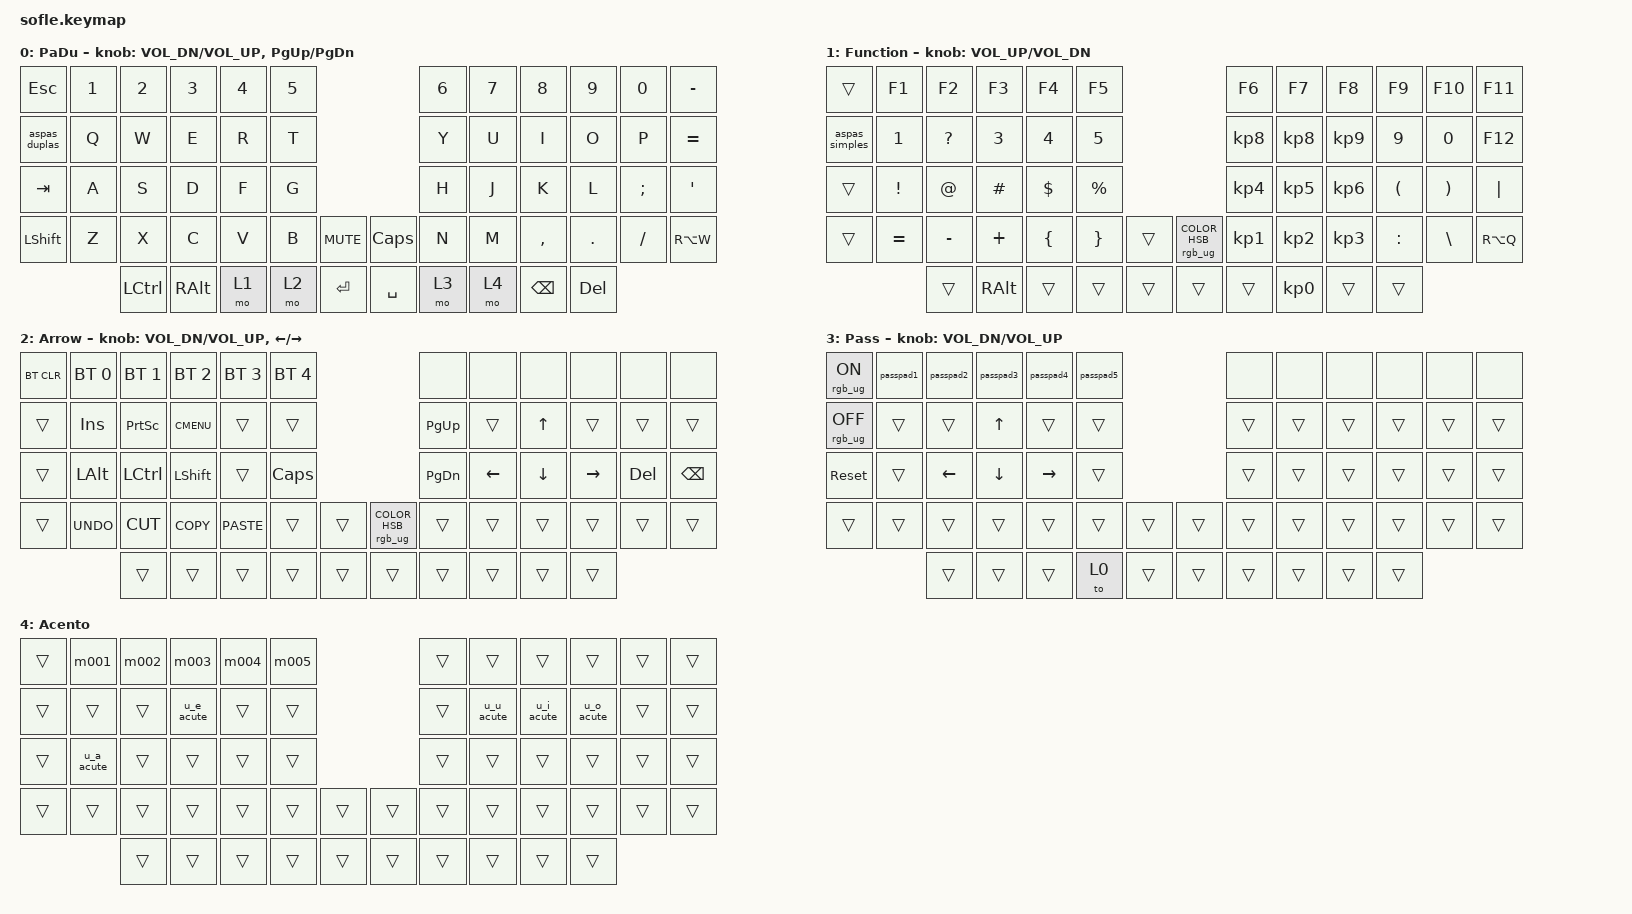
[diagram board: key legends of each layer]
#include <behaviors.dtsi>
#include <dt-bindings/zmk/bt.h>
#include <dt-bindings/zmk/keys.h>
#include <dt-bindings/zmk/rgb.h>

/ {
    macros {
        u_a_acute: u_a_acute {
            compatible = "zmk,behavior-macro";
            #binding-cells = <0>;
            bindings =
                <&macro_press>,
                <&kp LEFT_ALT>,
                <&macro_tap>,
                <&kp KP_N0 &kp KP_N2 &kp KP_N2 &kp KP_N5>,
                <&macro_release>,
                <&kp LEFT_ALT>;

            label = "U_A_ACUTE";
        };

        u_e_acute: u_e_acute {
            compatible = "zmk,behavior-macro";
            #binding-cells = <0>;
            bindings =
                <&macro_press>,
                <&kp LEFT_ALT>,
                <&macro_tap>,
                <&kp KP_N0 &kp KP_N2 &kp KP_N3 &kp KP_N3>,
                <&macro_release>,
                <&kp LEFT_ALT>;

            label = "U_E_ACUTE";
        };

        u_i_acute: u_i_acute {
            compatible = "zmk,behavior-macro";
            #binding-cells = <0>;
            bindings =
                <&macro_press>,
                <&kp LEFT_ALT>,
                <&macro_tap>,
                <&kp KP_N0 &kp KP_N2 &kp KP_N3 &kp KP_N7>,
                <&macro_release>,
                <&kp LEFT_ALT>;

            label = "U_I_ACUTE";
        };

        u_o_acute: u_o_acute {
            compatible = "zmk,behavior-macro";
            #binding-cells = <0>;
            bindings =
                <&macro_press>,
                <&kp LEFT_ALT>,
                <&macro_tap>,
                <&kp KP_N0 &kp KP_N2 &kp KP_N4 &kp KP_N3>,
                <&macro_release>,
                <&kp LEFT_ALT>;

            label = "U_O_ACUTE";
        };

        u_u_acute: u_u_acute {
            compatible = "zmk,behavior-macro";
            #binding-cells = <0>;
            bindings =
                <&macro_press>,
                <&kp LEFT_ALT>,
                <&macro_tap>,
                <&kp KP_N0 &kp KP_N2 &kp KP_N5 &kp KP_N0>,
                <&macro_release>,
                <&kp LEFT_ALT>;

            label = "U_U_ACUTE";
        };

        m001: m001 {
            compatible = "zmk,behavior-macro";
            #binding-cells = <0>;
            bindings = <&kp LS(P) &kp A>;
            label = "M001";
        };

        m002: m002 {
            compatible = "zmk,behavior-macro";
            #binding-cells = <0>;
            bindings = <&kp N1 &kp N7 &kp N0 &kp N8>;
            label = "M002";
        };

        m003: m003 {
            compatible = "zmk,behavior-macro";
            #binding-cells = <0>;
            bindings = <&kp N2 &kp N4>;
            label = "M003";
        };

        m004: m004 {
            compatible = "zmk,behavior-macro";
            #binding-cells = <0>;
            bindings = <&kp N2 &kp N0 &kp N2 &kp N4>;
            label = "M004";
        };

        m005: m005 {
            compatible = "zmk,behavior-macro";
            #binding-cells = <0>;
            bindings = <&kp D &kp U &kp AT>;
            label = "M005";
        };

        aspas_duplas: aspas_duplas {
            compatible = "zmk,behavior-macro";
            #binding-cells = <0>;
            bindings =
                <&macro_press>,
                <&kp LEFT_ALT>,
                <&macro_tap>,
                <&kp KP_N0 &kp KP_N0 &kp KP_N3 &kp KP_N4>,
                <&macro_release>,
                <&kp LEFT_ALT>,
                <&macro_press>,
                <&kp LEFT_ALT>,
                <&macro_tap>,
                <&kp KP_N0 &kp KP_N0 &kp KP_N3 &kp KP_N4>,
                <&macro_release>,
                <&kp LEFT_ALT>,
                <&macro_tap>,
                <&kp LEFT_ARROW>;

            label = "ASPAS_DUPLAS";
        };

        passpad1: passpad1 {
            compatible = "zmk,behavior-macro";
            #binding-cells = <0>;
            bindings = <&kp LS(P) &kp A &kp D &kp U>;
            label = "PASSPAD1";
        };

        passpad5: passpad5 {
            compatible = "zmk,behavior-macro";
            #binding-cells = <0>;
            bindings = <&kp AT_SIGN>;
            label = "PASSPAD5";
        };

        passpad2: passpad2 {
            compatible = "zmk,behavior-macro";
            #binding-cells = <0>;
            bindings = <&kp KP_N0 &kp N4 &kp N1 &kp N4>;
            label = "PASSPAD2";
        };

        passpad4: passpad4 {
            compatible = "zmk,behavior-macro";
            #binding-cells = <0>;
            bindings = <&kp N2 &kp N7 &kp N3 &kp N0>;
            label = "PASSPAD4";
        };

        passpad3: passpad3 {
            compatible = "zmk,behavior-macro";
            #binding-cells = <0>;
            bindings = <&kp N1 &kp N5 &kp N9 &kp N9>;
            label = "PASSPAD3";
        };

        aspas_simples: aspas_simples {
            compatible = "zmk,behavior-macro";
            #binding-cells = <0>;
            bindings =
                <&macro_press>,
                <&kp LEFT_ALT>,
                <&macro_tap>,
                <&kp KP_N0 &kp KP_N0 &kp KP_N3 &kp KP_N9>,
                <&macro_release>,
                <&kp LEFT_ALT>,
                <&macro_press>,
                <&kp LEFT_ALT>,
                <&macro_tap>,
                <&kp KP_N0 &kp KP_N0 &kp KP_N3 &kp KP_N9>,
                <&macro_release>,
                <&kp LEFT_ALT>,
                <&macro_tap>,
                <&kp LEFT_ARROW>;

            label = "ASPAS_SIMPLES";
        };

        ip_001: ip_001 {
            compatible = "zmk,behavior-macro";
            #binding-cells = <0>;
            bindings = <&kp N1 &kp N9 &kp N2 &kp DOT &kp N1 &kp N6 &kp N8 &kp DOT &kp N0 &kp DOT>;
            label = "IP_001";
        };

        dino: dino {
            compatible = "zmk,behavior-macro";
            #binding-cells = <0>;
            bindings = <&none &kp LS(F) &kp L &kp A &kp V &kp I &kp O &kp SPACE &kp D &kp I &kp N &kp O &kp SPACE &kp SPACE &kp M &kp U &kp I &kp T &kp O &kp SPACE &kp B &kp U &kp R &kp R &kp O>;
            label = "DINO";
        };
    };

    combos {
        compatible = "zmk,combos";

        ip_001-combo {
            bindings = <&ip_001>;
            key-positions = <20 22 1>;
            timeout-ms = <100>;
            layers = <0>;
        };

        dinoburro {
            bindings = <&dino>;
            key-positions = <27 20 44 21>;
            timeout-ms = <100>;
            layers = <0>;
        };

        windus {
            bindings = <&kp LEFT_WIN>;
            key-positions = <51 50>;
            layers = <0>;
            timeout-ms = <100>;
        };
    };

    keymap {
        compatible = "zmk,keymap";

        layer0 {
            display-name = "PaDu";
            bindings = <
&kp ESCAPE     &kp N1  &kp N2            &kp N3         &kp N4  &kp N5                              &kp N6  &kp N7  &kp N8         &kp N9   &kp N0    &kp MINUS
&aspas_duplas  &kp Q   &kp W             &kp E          &kp R   &kp T                               &kp Y   &kp U   &kp I          &kp O    &kp P     &kp EQUAL
&kp TAB        &kp A   &kp S             &kp D          &kp F   &kp G                               &kp H   &kp J   &kp K          &kp L    &kp SEMI  &kp SQT
&kp LSHFT      &kp Z   &kp X             &kp C          &kp V   &kp B   &kp C_MUTE    &kp CAPSLOCK  &kp N   &kp M   &kp COMMA      &kp DOT  &kp FSLH  &kp RA(W)
                       &kp LEFT_CONTROL  &kp RIGHT_ALT  &mo 1   &mo 2   &kp RET       &kp SPACE     &mo 3   &mo 4   &kp BACKSPACE  &kp DEL
            >;

            sensor-bindings =
                <&inc_dec_kp C_VOL_DN C_VOL_UP>,
                <&inc_dec_kp PAGE_UP PAGE_DOWN>;
        };

        L1 {
            display-name = "Function";
            bindings = <
&trans          &kp F1     &kp F2        &kp F3         &kp F4    &kp F5                                                 &kp F6           &kp F7           &kp F8     &kp F9     &kp F10   &kp F11
&aspas_simples  &kp N1     &kp QUESTION  &kp N3         &kp N4    &kp N5                                                 &kp KP_N8        &kp KP_N8        &kp KP_N9  &kp N9     &kp N0    &kp F12
&trans          &kp EXCL   &kp AT        &kp HASH       &kp DLLR  &kp PRCNT                                              &kp KP_N4        &kp KP_N5        &kp KP_N6  &kp LPAR   &kp RPAR  &kp PIPE
&trans          &kp EQUAL  &kp MINUS     &kp PLUS       &kp LBRC  &kp RBRC   &trans    &rgb_ug RGB_COLOR_HSB(24,100,81)  &kp KP_NUMBER_1  &kp KP_NUMBER_2  &kp KP_N3  &kp COLON  &kp BSLH  &kp RA(Q)
                           &trans        &kp RIGHT_ALT  &trans    &trans     &trans    &trans                            &trans           &kp KP_NUMBER_0  &trans     &trans
            >;

            sensor-bindings = <&inc_dec_kp C_VOL_UP C_VOL_DN>;
        };

        layer2 {
            display-name = "Arrow";
            bindings = <
&bt BT_CLR  &bt BT_SEL 0  &bt BT_SEL 1  &bt BT_SEL 2  &bt BT_SEL 3  &bt BT_SEL 4                                              &none      &none     &none     &none      &none    &none
&trans      &kp INS       &kp PSCRN     &kp K_CMENU   &trans        &trans                                                    &kp PG_UP  &trans    &kp UP    &trans     &trans   &trans
&trans      &kp LALT      &kp LCTRL     &kp LSHFT     &trans        &kp CAPS                                                  &kp PG_DN  &kp LEFT  &kp DOWN  &kp RIGHT  &kp DEL  &kp BSPC
&trans      &kp K_UNDO    &kp K_CUT     &kp K_COPY    &kp K_PASTE   &trans        &trans    &rgb_ug RGB_COLOR_HSB(24,100,50)  &trans     &trans    &trans    &trans     &trans   &trans
                          &trans        &trans        &trans        &trans        &trans    &trans                            &trans     &trans    &trans    &trans
            >;

            sensor-bindings =
                <&inc_dec_kp C_VOL_DN C_VOL_UP>,
                <&inc_dec_kp LEFT_ARROW RIGHT_ARROW>;
        };

        layer3 {
            display-name = "Pass";
            bindings = <
&rgb_ug RGB_ON   &passpad1  &passpad2       &passpad3       &passpad4        &passpad5                    &none   &none   &none   &none   &none   &none
&rgb_ug RGB_OFF  &trans     &trans          &kp UP_ARROW    &trans           &trans                       &trans  &trans  &trans  &trans  &trans  &trans
&sys_reset       &trans     &kp LEFT_ARROW  &kp DOWN_ARROW  &kp RIGHT_ARROW  &trans                       &trans  &trans  &trans  &trans  &trans  &trans
&trans           &trans     &trans          &trans          &trans           &trans     &trans    &trans  &trans  &trans  &trans  &trans  &trans  &trans
                            &trans          &trans          &trans           &to 0      &trans    &trans  &trans  &trans  &trans  &trans
            >;

            sensor-bindings = <&inc_dec_kp C_VOL_DN C_VOL_UP>;
        };

        layer_4 {
            bindings = <
&trans  &m001       &m002   &m003       &m004   &m005                     &trans  &trans      &trans      &trans      &trans  &trans
&trans  &trans      &trans  &u_e_acute  &trans  &trans                    &trans  &u_u_acute  &u_i_acute  &u_o_acute  &trans  &trans
&trans  &u_a_acute  &trans  &trans      &trans  &trans                    &trans  &trans      &trans      &trans      &trans  &trans
&trans  &trans      &trans  &trans      &trans  &trans  &trans    &trans  &trans  &trans      &trans      &trans      &trans  &trans
                    &trans  &trans      &trans  &trans  &trans    &trans  &trans  &trans      &trans      &trans
            >;

            label = "Acento";
        };
    };
};
